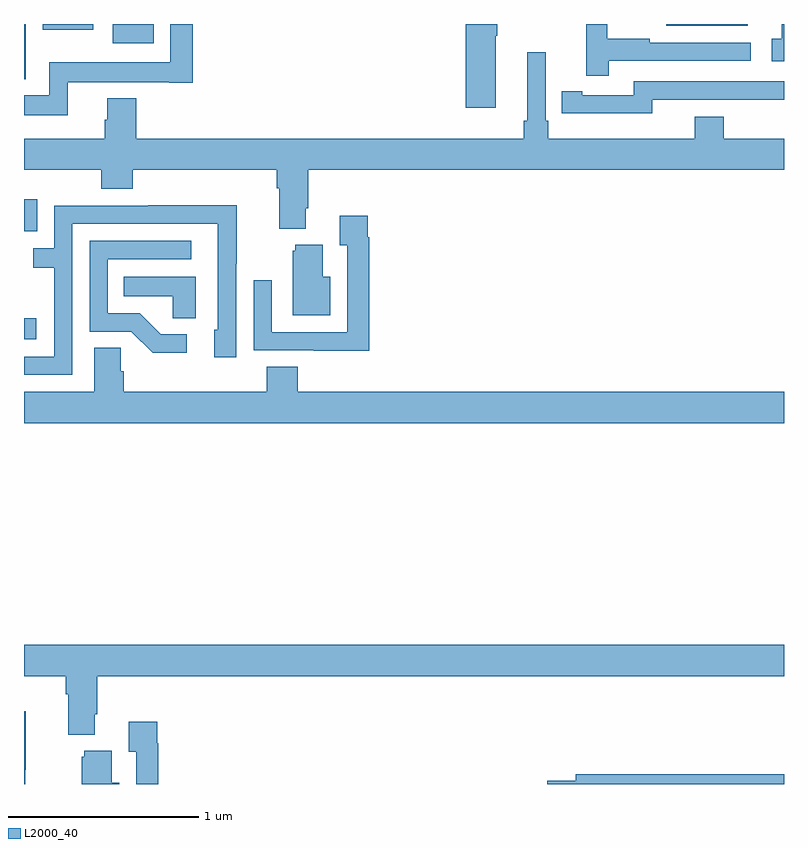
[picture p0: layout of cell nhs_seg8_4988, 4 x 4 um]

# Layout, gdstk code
import gdstk
lib = gdstk.Library(unit=1e-6, precision=1e-09)
def R(c, l, rs):  # rectangles x0, y0, x1, y1
    for r in rs: c.add(gdstk.rectangle(r[:2], r[2:], *l))
def P(c, l, *ps):  # polygons
    for p in ps: c.add(gdstk.Polygon(p, *l))
L2000_40 = (2000, 40)

nhs_seg8_4988 = lib.new_cell('nhs_seg8_4988')
R(nhs_seg8_4988, L2000_40, [(411,1150.241,411.064,1150.351), (411,1150.809,411.069,1150.978), (411,1151.609,411.009,1151.9), (411.467,1151.798,411.682,1151.9), (411.098,1151.87,411.364,1151.9), (414.381,1151.891,414.808,1151.9)])
P(nhs_seg8_4988, L2000_40, [(414.077,1151.706),(414.826,1151.706),(414.826,1151.802),(414.293,1151.802),(414.293,1151.822),(414.07,1151.822),(414.07,1151.9),(413.949,1151.9),(413.949,1151.899),(413.96,1151.899),(413.96,1151.628),(414.077,1151.628)],
  [(413.482,1151.839),(413.49,1151.839),(413.49,1151.9),(413.324,1151.9),(413.324,1151.46),(413.482,1151.46)],
  [(415,1151.9),(414.989,1151.9),(414.989,1151.823),(414.936,1151.823),(414.936,1151.703),(415,1151.703)],
  [(411.23,1151.594),(411.764,1151.594),(411.764,1151.592),(411.887,1151.592),(411.887,1151.9),(411.771,1151.9),(411.771,1151.698),(411.132,1151.698),(411.132,1151.524),(411,1151.524),(411,1151.42),(411.23,1151.42)],
  [(412.483,1150.93),(412.496,1150.93),(412.496,1151.132),(415,1151.132),(415,1151.296),(414.683,1151.296),(414.683,1151.413),(414.53,1151.413),(414.53,1151.296),(413.759,1151.296),(413.759,1151.392),(413.745,1151.392),(413.745,1151.752),(413.648,1151.752),(413.648,1151.392),(413.629,1151.392),(413.629,1151.296),(411.59,1151.296),(411.59,1151.509),(411.437,1151.509),(411.437,1151.397),(411.425,1151.397),(411.425,1151.296),(411,1151.296),(411,1151.132),(411.407,1151.132),(411.407,1151.033),(411.572,1151.033),(411.572,1151.132),(412.331,1151.132),(412.331,1151.036),(412.343,1151.036),(412.343,1150.823),(412.483,1150.823)],
  [(414.306,1151.502),(414.766,1151.502),(414.766,1151.501),(415,1151.501),(415,1151.598),(414.21,1151.598),(414.21,1151.526),(413.938,1151.526),(413.938,1151.546),(413.83,1151.546),(413.83,1151.43),(413.938,1151.43),(413.938,1151.429),(414.306,1151.429)],
  [(411.255,1150.848),(412.02,1150.848),(412.02,1150.29),(412.001,1150.29),(412.001,1150.146),(412.116,1150.146),(412.116,1150.639),(412.119,1150.639),(412.119,1150.946),(411.655,1150.946),(411.655,1150.944),(411.159,1150.944),(411.159,1150.719),(411.049,1150.719),(411.049,1150.618),(411.159,1150.618),(411.159,1150.149),(411,1150.149),(411,1150.053),(411.255,1150.053)],
  [(412.817,1150.778),(412.81,1150.778),(412.81,1150.891),(412.661,1150.891),(412.661,1150.735),(412.701,1150.735),(412.701,1150.278),(412.305,1150.278),(412.305,1150.552),(412.209,1150.552),(412.209,1150.182),(412.525,1150.182),(412.525,1150.181),(412.817,1150.181)],
  [(411.856,1150.266),(411.721,1150.266),(411.61,1150.377),(411.441,1150.377),(411.441,1150.662),(411.88,1150.662),(411.88,1150.758),(411.345,1150.758),(411.345,1150.281),(411.564,1150.281),(411.677,1150.169),(411.856,1150.169)],
  [(412.612,1150.57),(412.573,1150.57),(412.573,1150.738),(412.427,1150.738),(412.427,1150.707),(412.415,1150.707),(412.415,1150.367),(412.612,1150.367)],
  [(411.904,1150.57),(411.526,1150.57),(411.526,1150.466),(411.783,1150.466),(411.783,1150.351),(411.904,1150.351)],
  [(415,1149.964),(412.442,1149.964),(412.442,1150.097),(412.277,1150.097),(412.277,1149.964),(411.524,1149.964),(411.524,1150.073),(411.51,1150.073),(411.51,1150.196),(411.371,1150.196),(411.371,1149.964),(411,1149.964),(411,1149.8),(415,1149.8)],
  [(411.373,1148.266),(411.386,1148.266),(411.386,1148.468),(415,1148.468),(415,1148.632),(411,1148.632),(411,1148.468),(411.221,1148.468),(411.221,1148.372),(411.233,1148.372),(411.233,1148.159),(411.373,1148.159)],
  [(411.006,1147.975),(411.009,1147.975),(411.009,1148.282),(411,1148.282),(411,1147.9),(411.006,1147.9)],
  [(411.707,1148.114),(411.7,1148.114),(411.7,1148.227),(411.551,1148.227),(411.551,1148.071),(411.591,1148.071),(411.591,1147.9),(411.707,1147.9)],
  [(411.502,1147.906),(411.463,1147.906),(411.463,1148.074),(411.317,1148.074),(411.317,1148.043),(411.305,1148.043),(411.305,1147.9),(411.502,1147.9)],
  [(415,1147.952),(413.903,1147.952),(413.903,1147.916),(413.754,1147.916),(413.754,1147.9),(415,1147.9)])

lib.write_gds('nhs_seg8_4988.gds')
